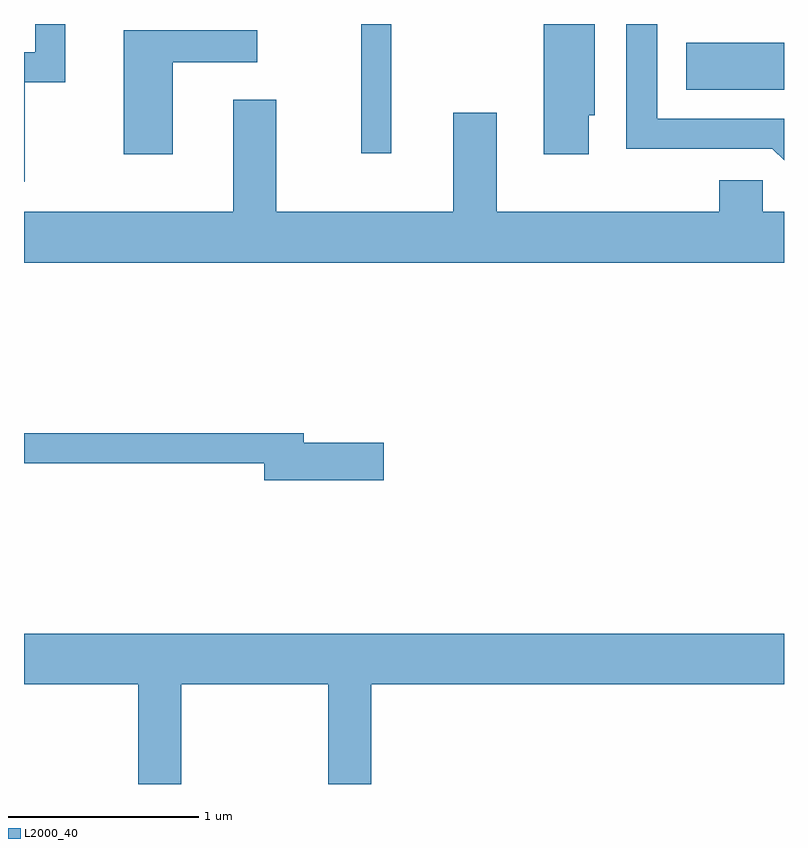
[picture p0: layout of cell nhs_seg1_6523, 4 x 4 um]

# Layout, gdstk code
import gdstk
lib = gdstk.Library(unit=1e-6, precision=1e-09)
def R(c, l, rs):  # rectangles x0, y0, x1, y1
    for r in rs: c.add(gdstk.rectangle(r[:2], r[2:], *l))
def P(c, l, *ps):  # polygons
    for p in ps: c.add(gdstk.Polygon(p, *l))
L2000_40 = (2000, 40)

nhs_seg1_6523 = lib.new_cell('nhs_seg1_6523')
R(nhs_seg1_6523, L2000_40, [(383.386,909.033,383.544,909.712), (385.096,909.366,385.611,909.614)])
P(nhs_seg1_6523, L2000_40, [(381.614,909.406),(381.829,909.406),(381.829,909.712),(381.671,909.712),(381.671,909.564),(381.611,909.564),(381.611,908.881),(381.614,908.881)],
  [(384.584,909.231),(384.614,909.231),(384.614,909.712),(384.346,909.712),(384.346,909.026),(384.584,909.026)],
  [(385.611,909.214),(384.944,909.214),(384.944,909.712),(384.781,909.712),(384.781,909.056),(385.549,909.056),(385.611,908.994)],
  [(382.394,909.511),(382.838,909.511),(382.838,909.679),(382.136,909.679),(382.136,909.026),(382.394,909.026)],
  [(385.611,908.724),(385.499,908.724),(385.499,908.889),(385.271,908.889),(385.271,908.724),(384.099,908.724),(384.099,909.244),(383.871,909.244),(383.871,908.724),(382.939,908.724),(382.939,909.314),(382.711,909.314),(382.711,908.724),(381.611,908.724),(381.611,908.456),(385.611,908.456)],
  [(383.504,907.509),(383.084,907.509),(383.084,907.559),(381.611,907.559),(381.611,907.401),(382.876,907.401),(382.876,907.311),(383.504,907.311)],
  [(382.439,906.236),(383.211,906.236),(383.211,905.712),(383.439,905.712),(383.439,906.236),(385.611,906.236),(385.611,906.504),(381.611,906.504),(381.611,906.236),(382.211,906.236),(382.211,905.712),(382.439,905.712)])

lib.write_gds('nhs_seg1_6523.gds')
